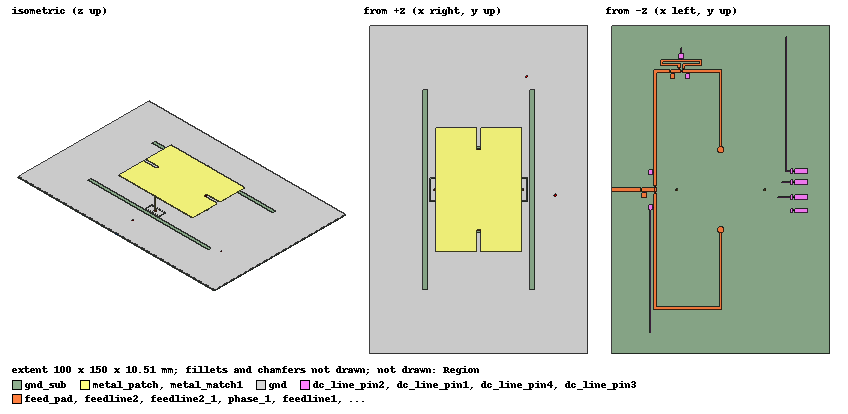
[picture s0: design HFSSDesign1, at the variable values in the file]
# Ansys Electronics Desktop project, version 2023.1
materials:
  Rogers RT/duroid 5880 (tm): permittivity=2.2 dielectric_loss_tangent=0.0009
  copper: permeability=0.999991 conductivity=58000000
  vacuum: permittivity=1

design HFSSDesign1 (HFSS, HFSS Modal Network, model units mm)
options: Allow_Material_Override
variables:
  subx = 100mm
  suby = 150mm
  subz = 0.5mm
  thickness_metal = 0.018mm
  metal_patch_x = 39.7125mm  # 31; optimise 30mm..45mm
  metal_patch_y = 56.3mm  # 58; optimise 50mm..60mm
  metal_patch_zposi = 9.19366mm  # optimise 7mm..13mm
  metal_thick = 0.3mm
  feed_inner_yposi = 16.6375mm  # 18
  metal_match_w = 0.840127mm  # optimise 0.6mm..1.2mm
  gnd_metal_match1_w = 4.24848mm  # optimise 4mm..8mm
  gnd_metal_match_gap = 0.403388mm  # optimise 0.3mm..1mm
  gnd_metal_match1_l = 10.0014mm  # 7; optimise 8mm..12mm
  feedline1_w = 1.33922mm  # optimise 1.2mm..1.6mm
  iso_slot_l = 91.8532mm  # 97; optimise 86mm..96mm
  iso_slot_w = 2.25907mm  # optimise 2mm..4mm
  iso_slot_xposi = 1.34895mm  # optimise 1mm..3mm
  feedline1_l = 20mm
  feedline2_l = 4mm  # optimise 2mm..8mm
  feed_pad_r = 1.5mm  # optimise 1mm..2mm
  pin_l = 1mm
  rlc = 0.5mm
  phase_l1 = 2mm
  phase_l2 = 8.00024mm  # optimise 7mm..9mm
  phase_l3 = 2mm
  phase_port_gap = 2mm
  iso_cap = 100pF
  feedline2_w = 2.09527mm  # optimise 1.8mm..2.2mm
  feedline1_cap_cut_xposi = 6mm
  iso_pad_w = 2mm
  iso_ind = 100nH
  phase_xposi = 1.99931mm  # optimise 0mm..3mm
  pin_indc = 0.6nH
  pin_resOn = 2.1ohm
  pin_cap = 0.17pF
  pin_resOff = 8000ohm
  pinState = 4
  dc_line_pin1_l2 = 60mm
  dc_line_pin1_l1 = 12mm
  dc_pad_gap = 5mm
  dc_line_w2 = 2mm
  dc_line_w1 = 0.2mm
  dc_pad_w = 2mm
  dc_pad_l = 8mm
  dc_line_pin2_l1 = 14mm
  dc_line_pin3_l2 = feed_inner_yposi-gnd_metal_match1_l/2-gnd_metal_match_gap
  dc_line_pin3_l3 = 43mm
  dc_line_pin3_l4 = (50mm+feedline2_l-(-dc_pad_gap/2*1-dc_pad_w/2+dc_line_pin3_l2))-feedline1_w/2-rlc
  dc_line_pin4_l1 = 12mm
  phase_line1_l = 19mm
  dc_line_pin4_l2 = (feed_inner_yposi+phase_line1_l+feedline1_w+3mm)-(dc_pad_gap/2*1+dc_pad_w/2)+25mm
  dc_line_pin3_l1 = 10mm
  gnd_cut_r = 1mm
  match_con_h = 0.8mm
  patch_feed_strip_cut_l = 10mm  # optimise 6mm..14mm
  feed_strip_w = 1mm  # optimise 0.5mm..1.5mm
  feed_strip_patch_gap = 0.5mm  # optimise 0.2mm..0.8mm
  sub_feed_cut_w = 1.5mm
  sub_feed_cut_l = 1mm
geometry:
  gnd_sub [Rogers RT/duroid 5880 (tm)] = box(corner=(-subx/2, -suby/2, 0mm), size=(subx, suby, -subz))
  gnd [copper] = box(corner=(-subx/2, -suby/2, 0mm), size=(subx, suby, -thickness_metal))
  Region [vacuum] = region(absolute_offset=40mm on all sides)
  metal_match1 [copper] = box(corner=(metal_patch_x/2, -metal_match_w/2, -subz), size=(metal_thick, metal_match_w, subz+metal_patch_zposi+metal_thick))
  metal_match2 [copper] = metal_match1.duplicate_mirror(point=(0mm, 0mm, 0mm), normal=(-1mm, 0mm, 0mm))
  gnd_metal_match1 = box(corner=(metal_patch_x/2+metal_thick/2-gnd_metal_match1_w/2, -gnd_metal_match1_l/2, 0mm), size=(gnd_metal_match1_w, gnd_metal_match1_l, -thickness_metal))
  gnd_metal_match2 = box(corner=(metal_patch_x/2+metal_thick/2-(gnd_metal_match1_w/2+gnd_metal_match_gap), -(gnd_metal_match1_l/2+gnd_metal_match_gap), 0mm), size=(gnd_metal_match1_w+gnd_metal_match_gap*2, gnd_metal_match1_l+gnd_metal_match_gap*2, -thickness_metal))
  gnd_metal_match2.subtract(gnd_metal_match1)
  gnd_metal_match2_1 = gnd_metal_match2.duplicate_mirror(point=(0mm, 0mm, 0mm), normal=(-1mm, 0mm, 0mm))
  gnd.subtract(gnd_metal_match2, gnd_metal_match2_1)
  iso_slot1 = box(corner=(metal_patch_x/2+gnd_metal_match1_w/2 +iso_slot_xposi, -iso_slot_l/2, 0), size=(iso_slot_w, iso_slot_l, -thickness_metal))
  iso_slot1_1 = iso_slot1.duplicate_mirror(point=(0mm, 0mm, 0mm), normal=(-1mm, 0mm, 0mm))
  gnd.subtract(iso_slot1, iso_slot1_1)
  feedline1 [copper] = polyline((subx/2, 0mm, -subz) (subx/2-feedline1_l, 0mm, -subz), section line width=feedline2_w)
  feedline2 [copper] = polyline(z=-subz, xy: (subx/2-feedline1_l, feedline2_w/2) (subx/2-feedline1_l, -50mm-feedline2_l) (0mm, -50mm-feedline2_l) (0mm, -metal_patch_y/2+patch_feed_strip_cut_l), section line width=feedline1_w)
  feedline2.chamfer(Vertices=feedline2.vertex(1 of 8, 5 of 8) LeftDistance=1.4mm RightDistance=1.4mm ChamferType=Symmetric)
  feedline2_1 [copper] = feedline2.duplicate_mirror(point=(0mm, 0mm, 0mm), normal=(0mm, 1mm, 0mm))
  feed_pad [copper] = cylinder(axis=Z, base_centre=(0mm, -metal_patch_y/2+patch_feed_strip_cut_l-metal_thick/2, -subz), radius=feed_pad_r, height=-thickness_metal-0.5mm)
  feed_pad_1 = feed_pad.duplicate_mirror(point=(0mm, 0mm, 0mm), normal=(0mm, 1mm, 0mm))
  feed_pad.unite(feed_pad_1)
  port = rectangle(corner=(subx/2, feedline2_w/2, 0), y_size=-feedline2_w, z_size=-subz-thickness_metal)
  pin1_cut = rectangle(corner=(subx/2-feedline1_l+feedline1_w/2, -feedline2_w/2, -subz), x_size=-feedline1_w, y_size=-pin_l)
  pin1_cut_1 = pin1_cut.duplicate_mirror(point=(0mm, 0mm, 0mm), normal=(0mm, 1mm, 0mm))
  feedline2_1.subtract(pin1_cut_1)
  feedline2.subtract(pin1_cut)
  pin1_1 = rectangle(corner=(subx/2-feedline1_l-rlc/2, -feedline2_w/2, -subz), x_size=rlc, y_size=-pin_l/2)
  pin2_1 = pin1_1.duplicate_mirror(point=(0mm, 0mm, 0mm), normal=(0mm, 1mm, 0mm))
  [feedline1, feedline2].thicken(0.018mm)
  coordinate_system phase = origin=((subx/2-feedline1_l)/2+phase_xposi, feedline2_l+50mm+feedline1_w/2, -subz) x=(1mm, 0mm, 0mm) y=(0mm, 1mm, 0mm)
  phase_1 [copper] = polyline((0mm, rlc, 0) (0mm, rlc+phase_l1, 0) (-phase_l2, rlc+phase_l1, 0) (-phase_l2, rlc+phase_l1+phase_l3, 0) (phase_l2+phase_port_gap, rlc+phase_l1+phase_l3, 0) (phase_l2+phase_port_gap, rlc+phase_l1, 0mm) (phase_port_gap, rlc+phase_l1, 0mm) (phase_port_gap, pin_l, 0mm), section line width=1mm) in phase
  phase_1.chamfer(Vertices=phase_1.vertex(5 of 16, 2 of 16, 7 of 16, 11 of 16, 9 of 16, 14 of 16) LeftDistance=feedline1_w-0.5mm RightDistance=feedline1_w-0.5mm ChamferType=Symmetric)
  pin3_cut = rectangle(corner=(phase_port_gap/2-pin_l/2, 0mm, 0mm), x_size=pin_l, y_size=-feedline1_w) in phase
  pin3_1 = rectangle(corner=(phase_port_gap/2-pin_l/2, -feedline1_w/2-rlc/2, 0mm), x_size=pin_l/2, y_size=rlc) in phase
  feedline2_1.subtract(pin3_cut)
  [feedline2_1, phase_1].thicken(0.018mm)
  pin4_1 = rectangle(corner=(phase_port_gap-rlc/2, 0mm, 0mm), x_size=rlc, y_size=pin_l/2) in phase
  phase_cap = rectangle(corner=(-rlc/2, 0mm, 0mm), x_size=rlc, y_size=rlc) in phase
  feedline_cap_cut = box(corner=(subx/2-feedline1_l+feedline1_cap_cut_xposi, -feedline2_w/2, -subz), size=(rlc, feedline2_w, -thickness_metal))
  iso_cap1 = rectangle(corner=(subx/2-feedline1_l+feedline1_cap_cut_xposi, -rlc/2, -subz), x_size=rlc, y_size=rlc)
  iso_ind_pad [copper] = box(corner=(subx/2-feedline1_l+feedline1_cap_cut_xposi, -feedline2_w/2-rlc, -subz), size=(-iso_pad_w, -iso_pad_w, -thickness_metal))
  iso_ind1 = rectangle(corner=(subx/2-feedline1_l+feedline1_cap_cut_xposi-iso_pad_w/2-rlc/2, -feedline2_w/2-rlc, -subz), x_size=rlc, y_size=rlc)
  iso_via1 [copper] = cylinder(axis=Z, base_centre=(subx/2-feedline1_l+feedline1_cap_cut_xposi-iso_pad_w/2, -feedline2_w/2-rlc-iso_pad_w/2, -subz), radius=0.5mm, height=subz)
  feedline1.subtract(feedline_cap_cut)
  pin1_2 = rectangle(corner=(subx/2-feedline1_l-rlc/2, -feedline2_w/2-pin_l/2, -subz), x_size=rlc, y_size=-pin_l/2)
  pin2_2 = pin1_2.duplicate_mirror(point=(0mm, 0mm, 0mm), normal=(0mm, 1mm, 0mm))
  pin3_2 [oriented by phase] = rectangle(corner=(phase_port_gap/2+pin_l/2, -feedline1_w/2-rlc/2, 0mm), x_size=-pin_l/2, y_size=rlc) in phase
  pin4_2 = rectangle(corner=(phase_port_gap-rlc/2, pin_l/2, 0mm), x_size=rlc, y_size=pin_l/2) in phase
  phase_cap_cut = box(corner=(rlc+pin_l+feedline1_w+3mm, 0mm, 0), size=(rlc, -feedline1_w, -thickness_metal)) in phase
  iso_cap2 = rectangle(corner=(rlc+pin_l+feedline1_w+3mm, -feedline1_w/2-rlc/2, 0mm), x_size=rlc, y_size=rlc) in phase
  iso_ind_pad2 [copper] = box(corner=(rlc+pin_l+feedline1_w+3mm, -feedline1_w-rlc, 0mm), size=(-iso_pad_w, -iso_pad_w, -thickness_metal)) in phase
  iso_via2 [copper] = cylinder(axis=Z, base_centre=(rlc+pin_l+feedline1_w+3mm-iso_pad_w/2, -feedline1_w-rlc -iso_pad_w/2, 0mm), radius=0.5mm, height=subz) in phase
  iso_ind2 = rectangle(corner=(rlc+pin_l+feedline1_w+3mm-iso_pad_w/2-rlc/2, -feedline1_w, 0mm), x_size=rlc, y_size=-rlc) in phase
  feedline2_1.subtract(phase_cap_cut)
  coordinate_system sw = origin=(-subx/2+10mm, 0mm, -subz) x=(1mm, 0mm, 0mm) y=(0mm, 1mm, 0mm)
  dc_line_pin1 [copper] = polyline(z=0mm, xy: (0mm, -dc_pad_gap/2*3-dc_pad_w) (dc_line_pin1_l1, -dc_pad_gap/2*3-dc_pad_w) (dc_line_pin1_l1, -dc_pad_gap/2*3+dc_pad_w-dc_line_pin1_l2) (-10mm+subx-feedline1_l +feedline2_w/2+rlc+dc_pad_w/2-0.3mm-dc_line_w1/2, -dc_pad_gap/2*3+dc_pad_w-dc_line_pin1_l2) (-10mm+subx-feedline1_l +feedline2_w/2+rlc+dc_pad_w/2-0.3mm-dc_line_w1/2, -feedline2_w/2-pin_l-5mm), section line width=dc_line_w1) in sw
  dc_pad2_pin1 = rectangle(corner=(-10mm+subx-feedline1_l +feedline2_w/2+rlc-0.3mm-dc_line_w1/2, -feedline2_w/2-pin_l-5mm, 0mm), x_size=dc_line_w2, y_size=-dc_line_w2) in sw
  dc_pad_pin1 = rectangle(corner=(0mm, -dc_pad_gap/2*3-dc_pad_w-dc_pad_w/2, 0mm), x_size=dc_pad_l, y_size=dc_pad_w) in sw
  dc_line_pin1.unite(dc_pad2_pin1, dc_pad_pin1)
  dc_pad_res_cut = box(corner=(dc_pad_l-1mm, -dc_pad_gap/2*3-dc_pad_w-dc_pad_w/2, 0), size=(-1mm, dc_pad_gap*3+dc_pad_w*4, -thickness_metal)) in sw
  dc_pad_res_cut_1 = dc_pad_res_cut.copy()
  dc_line_pin1.subtract(dc_pad_res_cut_1)
  dc_line_pin1.thicken(0.018mm)
  dc_line_pin3 [copper] = polyline(z=0mm, xy: (0mm, -dc_pad_gap/2*1-dc_pad_w/2) (dc_line_pin2_l1, -dc_pad_gap/2*1-dc_pad_w/2) (dc_line_pin2_l1, -dc_pad_gap/2*1-dc_pad_w/2+dc_line_pin3_l2) (dc_line_pin1_l1+dc_line_pin3_l3, -dc_pad_gap/2*1-dc_pad_w/2+dc_line_pin3_l2) (dc_line_pin1_l1+dc_line_pin3_l3, -dc_pad_gap/2*1-dc_pad_w/2+dc_line_pin3_l2 +dc_line_pin3_l4), section line width=dc_line_w1) in sw
  dc_pad_pin3 = rectangle(corner=(0mm, -dc_pad_gap/2*1-dc_pad_w/2-dc_pad_w/2, 0mm), x_size=dc_pad_l, y_size=dc_pad_w) in sw
  dc_pad2_pin3 = rectangle(corner=(dc_line_pin1_l1+dc_line_pin3_l3 -dc_line_w2/2, -dc_pad_gap/2*1-dc_pad_w/2+dc_line_pin3_l2 +dc_line_pin3_l4, 0mm), x_size=dc_line_w2, y_size=-dc_line_w2) in sw
  dc_line_pin3.unite(dc_pad_pin3, dc_pad2_pin3)
  dc_pad_res_cut_2 = dc_pad_res_cut.copy()
  dc_pad_res_cut_3 = dc_pad_res_cut.copy()
  dc_line_pin3.subtract(dc_pad_res_cut_3)
  dc_line_pin3.thicken(0.018mm)
  dc_line_pin4 [copper] = polyline(z=0mm, xy: (0mm, dc_pad_gap/2*1+dc_pad_w/2) (dc_line_pin4_l1, dc_pad_gap/2*1+dc_pad_w/2) (dc_line_pin4_l1, dc_pad_gap/2*1+dc_pad_w/2+dc_line_pin4_l2) (subx-feedline1_l-10mm-dc_line_pin4_l1, dc_pad_gap/2*1+dc_pad_w/2+dc_line_pin4_l2) (subx-feedline1_l-10mm-dc_line_pin4_l1, feedline2_l+50mm+feedline1_w/2 +rlc +phase_l1+phase_l3+feedline1_w/2+rlc) (subx-feedline1_l-10mm-dc_line_pin4_l1 +0.01mm, feedline2_l+50mm+feedline1_w/2 +rlc +phase_l1+phase_l3+feedline1_w/2+rlc+0.01mm), section line width=dc_line_w1) in sw
  dc_pad_pin4 = rectangle(corner=(0mm, dc_pad_gap/2*1+dc_pad_w/2-dc_pad_w/2, 0mm), x_size=dc_pad_l, y_size=dc_pad_w) in sw
  dc_pad2_pin4 = rectangle(corner=(subx-feedline1_l-10mm-dc_line_pin4_l1-dc_pad_w/2, feedline2_l+50mm+feedline1_w/2 +rlc +phase_l1+phase_l3+feedline1_w/2+rlc-0.3mm, 0mm), x_size=dc_line_w2, y_size=dc_line_w2) in sw
  dc_line_pin4.unite(dc_pad_pin4, dc_pad2_pin4)
  dc_line_pin4.subtract(dc_pad_res_cut)
  dc_line_pin4.thicken(0.018mm)
  dc_line_pin2 [copper] = polyline(z=0mm, xy: (0mm, dc_pad_gap/2*3+dc_pad_w/2) (dc_line_pin3_l1, dc_pad_gap/2*3+dc_pad_w/2) (dc_line_pin3_l1, dc_pad_gap/2*3+dc_pad_w/2+dc_line_pin4_l2) (subx-10mm-feedline1_l+feedline1_w/2+rlc+dc_pad_w/2-dc_line_w1/2, dc_pad_gap/2*3+dc_pad_w/2+dc_line_pin4_l2) (subx-10mm-feedline1_l+feedline1_w/2+rlc+dc_pad_w/2-dc_line_w1/2, feedline2_w/2+pin_l+5mm), section line width=dc_line_w1) in sw
  dc_pad_pin2 = rectangle(corner=(0mm, dc_pad_gap/2*3+dc_pad_w/2-dc_pad_w/2, 0mm), x_size=dc_pad_l, y_size=dc_pad_w) in sw
  dc_pad2_pin2 = rectangle(corner=(-10mm+subx-feedline1_l +feedline2_w/2+rlc-0.3mm-dc_line_w1/2, feedline2_w/2+pin_l+5mm, 0mm), x_size=dc_line_w2, y_size=dc_line_w2) in sw
  dc_line_pin2.unite(dc_pad_pin2, dc_pad2_pin2)
  dc_line_pin2.subtract(dc_pad_res_cut_2)
  dc_line_pin2.thicken(0.018mm)
  dc_ind_pin1 = rectangle(corner=(-10mm+subx-feedline1_l +feedline2_w/2+rlc-0.3mm-dc_line_w1/2, -feedline2_w/2-pin_l-5mm-dc_pad_w/2-rlc/2, 0mm), x_size=-rlc, y_size=rlc) in sw
  dc_ind_pin2 = rectangle(corner=(-10mm+subx-feedline1_l +feedline2_w/2+rlc-0.3mm-dc_line_w1/2, feedline2_w/2+pin_l+5mm+dc_pad_w/2-rlc/2, 0mm), x_size=-rlc, y_size=rlc) in sw
  dc_ind_pin3 = rectangle(corner=(dc_line_pin1_l1+dc_line_pin3_l3 -rlc/2, -dc_pad_gap/2*1-dc_pad_w/2+dc_line_pin3_l2 +dc_line_pin3_l4, 0mm), x_size=rlc, y_size=rlc) in sw
  dc_ind_pin4 = rectangle(corner=(subx-feedline1_l-10mm-dc_line_pin4_l1-rlc/2, feedline2_l+50mm+feedline1_w/2 +rlc +phase_l1+phase_l3+feedline1_w/2+rlc-0.3mm, 0mm), x_size=rlc, y_size=-rlc) in sw
  dc_res_pin1 = rectangle(corner=(dc_pad_l-1mm, -dc_pad_gap/2*3-dc_pad_w-rlc/2, 0mm), x_size=-1mm, y_size=rlc) in sw
  dc_res_pin3 = rectangle(corner=(dc_pad_l-1mm, -dc_pad_gap/2-dc_pad_w/2-rlc/2, 0mm), x_size=-1mm, y_size=rlc) in sw
  dc_res_pin4 = rectangle(corner=(dc_pad_l-1mm, dc_pad_gap/2+dc_pad_w/2-rlc/2, 0mm), x_size=-1mm, y_size=rlc) in sw
  dc_res_pin2 = rectangle(corner=(dc_pad_l-1mm, dc_pad_gap/2*3+dc_pad_w/2-rlc/2, 0mm), x_size=-1mm, y_size=rlc) in sw
  sub_match_cut = box(corner=(metal_patch_x/2+metal_thick/2-0.4mm, -0.6mm, 0mm), size=(0.8mm, 1.2mm, -subz))
  sub_match_cut_1 = sub_match_cut.duplicate_mirror(point=(0mm, 0mm, 0mm), normal=(-1mm, 0mm, 0mm))
  sub_match_cut.unite(sub_match_cut_1)
  sub_match_cut_2 = sub_match_cut.copy()
  gnd.subtract(sub_match_cut_2)
  gnd_sub.subtract(sub_match_cut)
  match_con1 [copper] = box(corner=(metal_patch_x/2+metal_thick/2-0.4mm, -0.6mm, 0mm), size=(0.8mm, 1.2mm, match_con_h))
  match_con_2 = match_con1.duplicate_mirror(point=(0mm, 0mm, 0mm), normal=(-1mm, 0mm, 0mm))
  match_con1.unite(match_con_2)
  feed_strip [copper] = box(corner=(-feed_strip_w/2, metal_patch_y/2-patch_feed_strip_cut_l, -subz), size=(feed_strip_w, metal_thick, subz+metal_patch_zposi+metal_thick))
  feed_strip_1 [copper] = feed_strip.duplicate_mirror(point=(0mm, 0mm, 0mm), normal=(0mm, -1mm, 0mm))
  metal_patch [copper] = box(corner=(-metal_patch_x/2, -metal_patch_y/2, metal_patch_zposi), size=(metal_patch_x, metal_patch_y, metal_thick))
  patch_feed_strip_cut = box(corner=(-(feed_strip_w/2+feed_strip_patch_gap), metal_patch_y/2, metal_patch_zposi), size=(feed_strip_w+feed_strip_patch_gap*2, -patch_feed_strip_cut_l, metal_thick))
  patch_feed_strip_cut_1 = patch_feed_strip_cut.duplicate_mirror(point=(0mm, 0mm, 0mm), normal=(0mm, -1mm, 0mm))
  metal_patch.subtract(patch_feed_strip_cut, patch_feed_strip_cut_1)
  gnd_feed_cut = cylinder(axis=Z, base_centre=(0mm, metal_patch_y/2-patch_feed_strip_cut_l+metal_thick/2, 0mm), radius=1.5mm, height=-thickness_metal)
  gnd_feed_cut_1 = gnd_feed_cut.duplicate_mirror(point=(0mm, 0mm, 0mm), normal=(0mm, -1mm, 0mm))
  sub_feed_cut = box(corner=(-sub_feed_cut_w/2, metal_patch_y/2-patch_feed_strip_cut_l +metal_thick/2-sub_feed_cut_l/2, 0mm), size=(sub_feed_cut_w, sub_feed_cut_l, -subz))
  sub_feed_cut_1 = sub_feed_cut.duplicate_mirror(point=(0mm, 0mm, 0mm), normal=(0mm, -1mm, 0mm))
  gnd.subtract(gnd_feed_cut, gnd_feed_cut_1)
  gnd_sub.subtract(sub_feed_cut, sub_feed_cut_1)
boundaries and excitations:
  Rad1: Radiation Objects=Region
  iso_cap: Lumped RLC Objects=phase_cap CurrentLine{(16.99931, 55.16961, -0.5) -> (16.99931, 54.66961, -0.5)} RLC_Type=Parallel Capacitance=iso_cap
  iso_cap1: Lumped RLC Objects=iso_cap1 CurrentLine{(36.5, 0, -0.5) -> (36, 0, -0.5)} RLC_Type=Parallel Capacitance=iso_cap
  iso_ind: Lumped RLC Objects=iso_ind1 CurrentLine{(35, -1.547635, -0.5) -> (35, -1.047635, -0.5)} RLC_Type=Parallel Inductance=iso_ind
  pin1_1: Lumped RLC Objects=pin1_1 CurrentLine{(30, -1.047635, -0.5) -> (30, -1.547635, -0.5)} RLC_Type=Parallel Inductance=pin_indc
  pin1_2: Lumped RLC Objects=pin1_2 CurrentLine{(30, -1.547635, -0.5) -> (30, -2.047635, -0.5)} RLC_Type=Parallel Resistance=8000ohm Capacitance=2.1pF
  pin2_1: Lumped RLC Objects=pin2_1 CurrentLine{(30, 1.047635, -0.5) -> (30, 1.547635, -0.5)} RLC_Type=Parallel Inductance=0.6nH
  pin2_2: Lumped RLC Objects=pin2_2 CurrentLine{(30, 1.547635, -0.5) -> (30, 2.047635, -0.5)} RLC_Type=Parallel Resistance=2.1ohm
  pin3_1: Lumped RLC Objects=pin3_1 CurrentLine{(17.49931, 54, -0.5) -> (17.99931, 54, -0.5)} RLC_Type=Parallel Inductance=0.6nH
  pin3_2: Lumped RLC Objects=pin3_2 CurrentLine{(17.99931, 54, -0.5) -> (18.49931, 54, -0.5)} RLC_Type=Parallel Resistance=2.1ohm
  pin4_1: Lumped RLC Objects=pin4_1 CurrentLine{(18.99931, 54.66961, -0.5) -> (18.99931, 55.16961, -0.5)} RLC_Type=Parallel Inductance=0.6nH
  pin4_2: Lumped RLC Objects=pin4_2 CurrentLine{(18.99931, 55.16961, -0.5) -> (18.99931, 55.66961, -0.5)} RLC_Type=Parallel Resistance=8000ohm Capacitance=pin_cap
  iso_cap2: Lumped RLC Objects=iso_cap2 CurrentLine{(23.33853, 54, -0.5) -> (22.83853, 54, -0.5)} RLC_Type=Parallel Capacitance=iso_cap
  iso_ind2: Lumped RLC Objects=iso_ind2 CurrentLine{(21.83853, 52.83039, -0.5) -> (21.83853, 53.33039, -0.5)} RLC_Type=Parallel Inductance=iso_ind
  ind1: Lumped RLC Objects=dc_ind_pin1 CurrentLine{(31.147635, -8.047635, -0.5) -> (30.647635, -8.047635, -0.5)} RLC_Type=Parallel Inductance=56nH
  ind2: Lumped RLC Objects=dc_ind_pin2 CurrentLine{(31.147635, 8.047635, -0.5) -> (30.647635, 8.047635, -0.5)} RLC_Type=Parallel Inductance=56nH
  ind3: Lumped RLC Objects=dc_ind_pin3 CurrentLine{(15, 52.83039, -0.5) -> (15, 53.33039, -0.5)} RLC_Type=Parallel Inductance=56nH
  ind4: Lumped RLC Objects=dc_ind_pin4 CurrentLine{(18, 60.03922, -0.5) -> (18, 59.53922, -0.5)} RLC_Type=Parallel Inductance=56nH
  res1: Lumped RLC Objects=dc_res_pin1 CurrentLine{(-34, -9.5, -0.5) -> (-33, -9.5, -0.5)} RLC_Type=Parallel Resistance=100ohm
  res2: Lumped RLC Objects=dc_res_pin2 CurrentLine{(-34, 8.5, -0.5) -> (-33, 8.5, -0.5)} RLC_Type=Parallel Resistance=100ohm
  res3: Lumped RLC Objects=dc_res_pin3 CurrentLine{(-34, -3.5, -0.5) -> (-33, -3.5, -0.5)} RLC_Type=Parallel Resistance=100ohm
  res4: Lumped RLC Objects=dc_res_pin4 CurrentLine{(-34, 3.5, -0.5) -> (-33, 3.5, -0.5)} RLC_Type=Parallel Resistance=100ohm
  1: Lumped Port Objects=port LumpedPortType=Modal Modes{Mode1{IntLine{(50, 0, -0.518) -> (50, 0, 0)} CharImp=Zpi RenormImp=50ohm}} Impedance=50ohm
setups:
  Setup1: HfssDriven Frequency=2.44GHz MaxDeltaS=0.02 MaximumPasses=10 MinimumPasses=1 MinimumConvergedPasses=1 PercentRefinement=30 BasisOrder=1 PortAccuracy=2 DrivenSolverType="Direct Solver"
    sweep Sweep: 2GHz to 3GHz step 0.01GHz; Type=Fast SaveFields
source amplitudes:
  1:1: 1W 0deg
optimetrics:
  ParametricSetup1: Parametric Sim._Setups=[Setup1]
    sweep match_con_h: LIN 0.2mm 1mm 0.2mm
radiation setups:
  3D: Infinite Sphere Theta=-180deg..180deg step 2deg Phi=-180deg..180deg step 2deg
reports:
  Realized Gain Plot 1: dB(RealizedGainTotal) vs Phi, Theta on Setup1 : LastAdaptive, 3D [Freq=2.44GHz]
  S Parameter Chart 1: S(1,1) on Setup1 : Sweep [Freq=all]; markers m1 at 2.44GHz
  S Parameter Plot 1: dB(S(1,1)) vs Freq on Setup1 : Sweep; markers m1 at 2.15GHz, m2 at 2.2GHz, MX1 at x=2.4e+09, MX2 at x=2.48e+09, MY1 at y=-10
  Realized Gain Plot 2: dB(RealizedGainPhi), dB(RealizedGainTheta) vs Theta on Setup1 : LastAdaptive, 3D [Phi=90deg Freq=2.44GHz]
